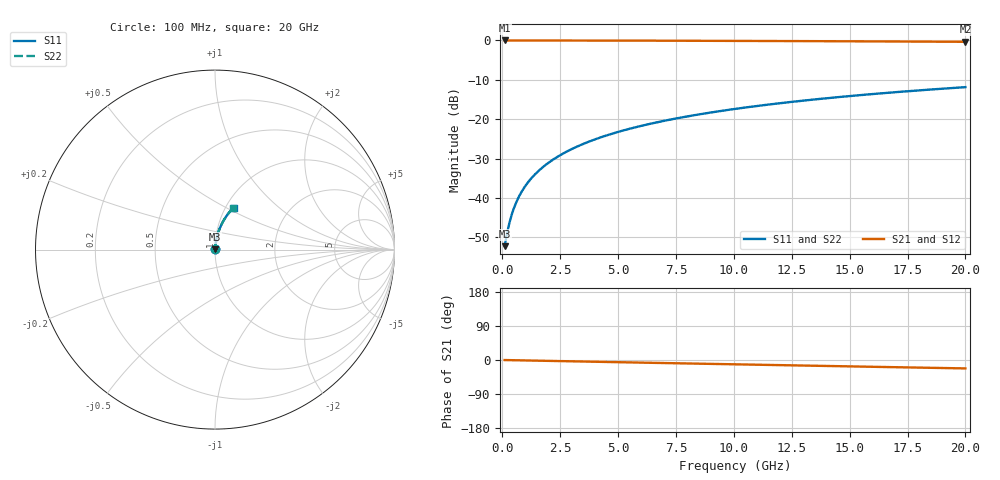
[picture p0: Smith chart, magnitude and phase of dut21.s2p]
! Touchstone file exported from HFSS 2026.1.0
!  File:  C:/ffzhzh/LocalFiles/Ansys_Project_Files/temp_train_BSMRDL_21_1782882029_42304.aedt
!  Generated:  01:01:39 PM Jul  1, 2026
!  Design:  BSMRDL
!  Project:  temp_train_BSMRDL_21_1782882029_42304
! Variables:
!  h_bsmrdl = 4.17um
!  h_ox = 20um
!  h_rdl = 5um
!  h_sub = 80um
!  h_tmrdl = 5um
!  h_tsv = 80um
!  h_via = 3um
!  l_bsmrdl = 271.1um
!  l_sub = 671.1um
!  l_tmrdl = 200um
!  m_sub = 200um
!  pitch = 41.42um
!  r_tsv = 6um
!  s_tmrdl = 10um
!  w_bsmrdl = 12.5um
!  w_sub = 500um
!  w_tmrdl = 12um
!  x_tsv_center1 = 206um
!  x_tsv_center2 = 489.6um
!  x_tsv_center3 = 701.6um
!  x_tsv_center4 = 985.2um
!  x_tsv_center5 = 1197.2um
!  x_tsv_center6 = 1480.8um
# GHz S MA R 50.000000
! Terminal data exported
! Port[1] = BSM_RDL1_1_T1
! Port[2] = BSM_RDL1_1_T2
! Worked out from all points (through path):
!   200 points, 100 MHz to 20 GHz, reference 50 ohm
!   highest |S21| = -0.02 dB at 100 MHz (marker M1); lowest = -0.4 dB at 20 GHz (marker M2)
!   group delay of S21, straight-line fit = 3.08 ps
!   lowest |S11| = -52.3 dB at 100 MHz (marker M3), VSWR 1.00, Z = 50.2 + j0.146 ohm
!   |S11| at or under -10 dB: start of sweep to end of sweep
!   |S22| runs from -52.3 to -11.9 dB; largest |S21 - S12| = 3.5e-15
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0.1  0.002438 36.5  0.998 -0.1  0.998 -0.1  0.002438 36.5
! Gamma 0 0 0 0
! Port Impedance 50 0 50 0
0.2  0.003477 55.2  0.998 -0.2  0.998 -0.2  0.003479 55.5
0.3  0.004718 64.7  0.998 -0.4  0.998 -0.4  0.004727 64.9
0.4  0.006034 70.0  0.9979 -0.5  0.9979 -0.5  0.006049 70.2
0.5  0.007383 73.4  0.9979 -0.6  0.9979 -0.6  0.007401 73.5
0.6  0.008747 75.6  0.9978 -0.7  0.9978 -0.7  0.008765 75.7
0.8  0.01149 78.4  0.9977 -0.9  0.9977 -0.9  0.01151 78.4
1.1  0.01562 80.6  0.9976 -1.3  0.9976 -1.3  0.01563 80.5
1.5  0.02112 81.9  0.9974 -1.8  0.9974 -1.8  0.02112 81.9
1.8  0.02524 82.4  0.9973 -2.1  0.9973 -2.1  0.02525 82.4
2.1  0.02936 82.7  0.9971 -2.4  0.9971 -2.4  0.02937 82.7
2.7  0.03759 82.8  0.9966 -3.1  0.9966 -3.1  0.03759 82.8
3.5  0.04851 82.5  0.9959 -4.1  0.9959 -4.1  0.04851 82.5
4.2  0.05801 82.0  0.9952 -4.9  0.9952 -4.9  0.05801 82.0
5  0.0688 81.3  0.9942 -5.8  0.9942 -5.8  0.0688 81.3
5.9  0.08082 80.5  0.9929 -6.8  0.9929 -6.8  0.08082 80.5
6.8  0.09274 79.6  0.9916 -7.8  0.9916 -7.8  0.09274 79.6
8.3  0.1124 78.1  0.989 -9.5  0.989 -9.5  0.1124 78.1
10.1  0.1355 76.3  0.9855 -11.5  0.9855 -11.5  0.1355 76.3
13.4  0.1768 72.9  0.9781 -15.1  0.9781 -15.1  0.1768 72.9
16.7  0.2167 69.5  0.9694 -18.7  0.9694 -18.7  0.2167 69.5
20  0.2549 66.1  0.9596 -22.2  0.9596 -22.2  0.2549 66.2
